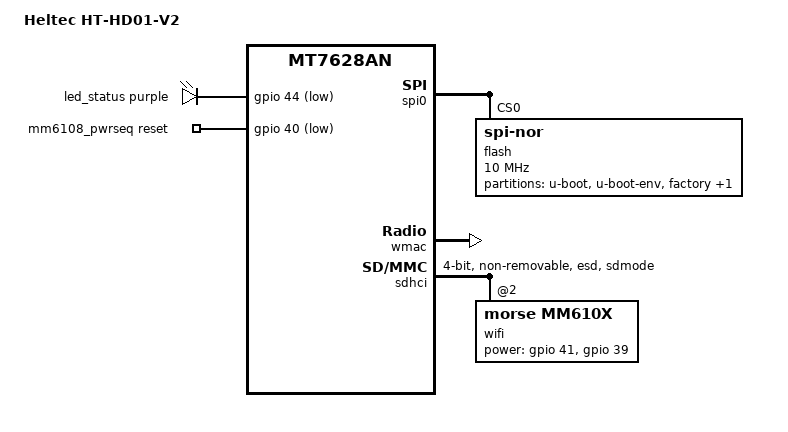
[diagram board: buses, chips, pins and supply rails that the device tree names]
// SPDX-License-Identifier: GPL-2.0-or-later OR MIT

#include "mt7628an.dtsi"

#include <dt-bindings/gpio/gpio.h>
#include <dt-bindings/leds/common.h>

/ {
	compatible = "heltec,ht-hd01-v2", "mediatek,mt7628an-soc";
	model = "Heltec HT-HD01-V2";

	aliases {
		led-boot = &led_status;
		led-failsafe = &led_status;
		led-running = &led_status;
		led-upgrade = &led_status;
		label-mac-device = &wmac;
	};

	chosen {
		bootargs = "console=ttyS0,115200";
	};

	leds {
		compatible = "gpio-leds";

		led_status: status {
			function = LED_FUNCTION_STATUS;
			color = <LED_COLOR_ID_PURPLE>;
			gpios = <&gpio 44 GPIO_ACTIVE_LOW>;
		};
	};

	/* Morse Micro MM6108 802.11ah radio on SDIO */
	mm6108_pwrseq: mm6108-pwrseq {
		compatible = "mmc-pwrseq-simple";
		reset-gpios = <&gpio 40 GPIO_ACTIVE_LOW>;
		post-power-on-delay-ms = <50>;
	};
};

&pinctrl {
	/* The MM6108 SDIO bus is wired to the EPHY port 1-4 pins */
	ephy-digital;

	sdxc_iot_mode: sdxc_iot_mode {
		esd {
			groups = "esd";
			function = "iot";
		};

		sdxc {
			groups = "sdmode";
			function = "sdxc";
		};
	};
};

&state_default {
	gpio {
		groups = "p4led_an", "p3led_an", "p2led_an", "wled_an";
		function = "gpio";
	};
};

&spi0 {
	status = "okay";

	flash@0 {
		compatible = "jedec,spi-nor";
		reg = <0>;
		spi-max-frequency = <10000000>;
		broken-flash-reset;

		partitions {
			compatible = "fixed-partitions";
			#address-cells = <1>;
			#size-cells = <1>;

			partition@0 {
				label = "u-boot";
				reg = <0x0 0x30000>;
				read-only;
			};

			partition@30000 {
				label = "u-boot-env";
				reg = <0x30000 0x10000>;
				read-only;
			};

			partition@40000 {
				label = "factory";
				reg = <0x40000 0x10000>;
				read-only;

				nvmem-layout {
					compatible = "fixed-layout";
					#address-cells = <1>;
					#size-cells = <1>;

					eeprom_factory_0: eeprom@0 {
						reg = <0x0 0x400>;
					};

					macaddr_factory_28: macaddr@28 {
						reg = <0x28 0x6>;
					};
				};
			};

			partition@50000 {
				compatible = "denx,uimage";
				label = "firmware";
				reg = <0x50000 0x1fb0000>;
			};
		};
	};
};

&ethernet {
	nvmem-cells = <&macaddr_factory_28>;
	nvmem-cell-names = "mac-address";
};

/* Only port 0 is wired, to the RJ45 jack */
&esw {
	mediatek,portdisable = <0x3e>;
};

&wmac {
	status = "okay";

	nvmem-cells = <&eeprom_factory_0>;
	nvmem-cell-names = "eeprom";
};

&sdhci {
	status = "okay";

	#address-cells = <1>;
	#size-cells = <0>;

	pinctrl-0 = <&sdxc_iot_mode>;
	pinctrl-1 = <&sdxc_iot_mode>;

	bus-width = <4>;
	non-removable;
	cap-sdio-irq;
	mmc-pwrseq = <&mm6108_pwrseq>;

	wifi@2 {
		compatible = "morse,mm610x";
		reg = <2>;
		/* wake, busy (morse_driver of.c); reset is done by mm6108_pwrseq */
		power-gpios = <&gpio 41 GPIO_ACTIVE_HIGH>,
			      <&gpio 39 GPIO_ACTIVE_HIGH>;
	};
};
